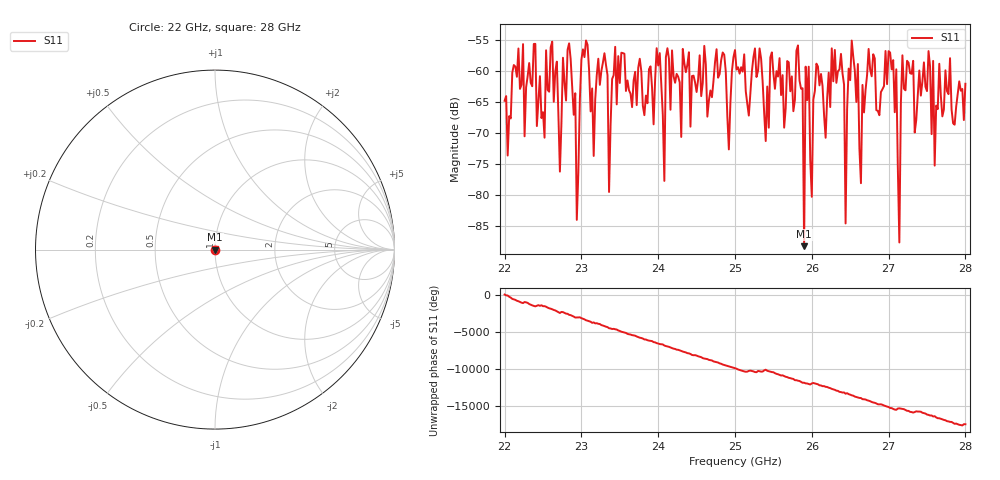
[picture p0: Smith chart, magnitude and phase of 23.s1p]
#  HZ  S  RI  R  50.00
! Rohde & Schwarz ZVA40 4Ports - Version 3.90 - 1145.1110k42 SN: 100403
! Date: 2023-10-04 11:37:25
! Measurement: S12
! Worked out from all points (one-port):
!   301 points, 22 GHz to 28 GHz, reference 50 ohm
!   lowest |S11| = -88.3 dB at 25.9 GHz (marker M1), VSWR 1.00, Z = 50 - j0.00195 ohm
!   |S11| at or under -10 dB: start of sweep to end of sweep
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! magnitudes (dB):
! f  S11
! 22 GHz  -64.8
! 22.62 GHz  -55.3
! 22.72 GHz  -76.3
! 22.76 GHz  -57.9
! 22.94 GHz  -84.1
! 23.06 GHz  -55.1
! 23.16 GHz  -73.7
! 23.3 GHz  -57.1
! 23.36 GHz  -79.6
! 23.5 GHz  -62.0
! 24.02 GHz  -57.1
! 24.08 GHz  -77.8
! 24.1 GHz  -57.8
! 24.26 GHz  -60.9
! 25 GHz  -56.6
! 25.76 GHz  -66.5
! 25.9 GHz  -88.3
! 25.92 GHz  -59.3
! 26 GHz  -80.4
! 26.06 GHz  -58.8
! 26.38 GHz  -57.2
! 26.44 GHz  -84.7
! 26.5 GHz  -61.5
! 26.64 GHz  -78.2
! 27.02 GHz  -57.0
! 27.14 GHz  -87.7
! 27.26 GHz  -58.7
! 28 GHz  -62.1
